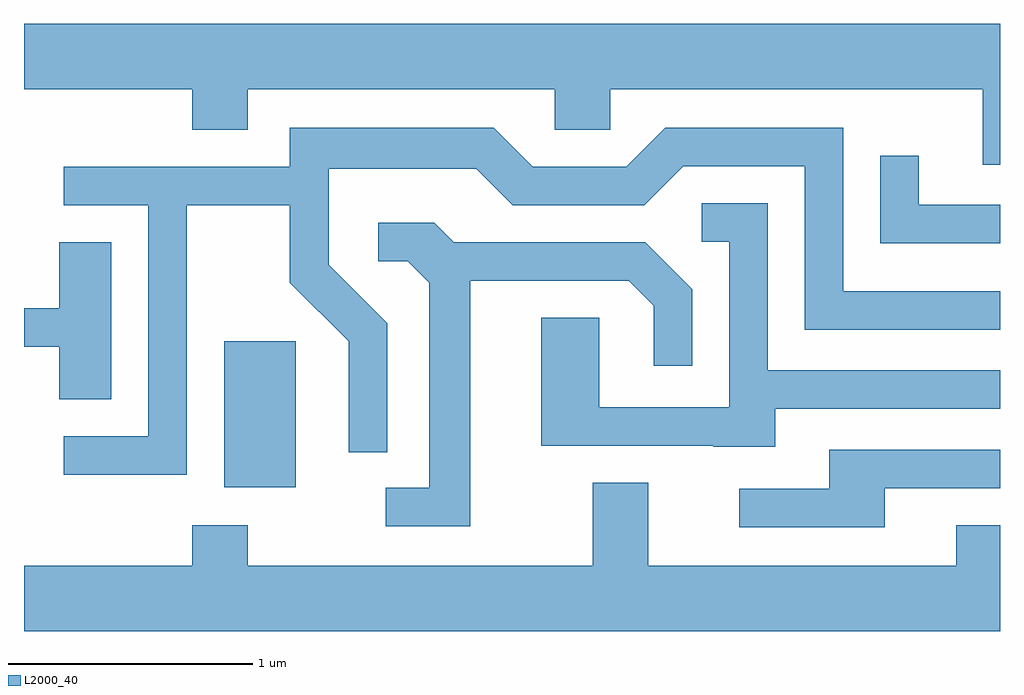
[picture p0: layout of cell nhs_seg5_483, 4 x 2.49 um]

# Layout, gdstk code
import gdstk
lib = gdstk.Library(unit=1e-6, precision=1e-09)
def R(c, l, rs):  # rectangles x0, y0, x1, y1
    for r in rs: c.add(gdstk.rectangle(r[:2], r[2:], *l))
def P(c, l, *ps):  # polygons
    for p in ps: c.add(gdstk.Polygon(p, *l))
L2000_40 = (2000, 40)

nhs_seg5_483 = lib.new_cell('nhs_seg5_483')
R(nhs_seg5_483, L2000_40, [(200.431,1410.766,200.724,1411.364)])
P(nhs_seg5_483, L2000_40, [(203.611,1412.664),(199.611,1412.664),(199.611,1412.396),(200.301,1412.396),(200.301,1412.231),(200.529,1412.231),(200.529,1412.396),(201.786,1412.396),(201.786,1412.231),(202.014,1412.231),(202.014,1412.396),(203.541,1412.396),(203.541,1412.086),(203.611,1412.086)],
  [(200.279,1411.921),(200.701,1411.921),(200.701,1411.604),(200.941,1411.364),(200.941,1410.908),(201.099,1410.908),(201.099,1411.437),(200.859,1411.677),(200.859,1412.071),(201.464,1412.071),(201.614,1411.921),(202.152,1411.921),(202.312,1412.081),(202.811,1412.081),(202.811,1411.411),(203.611,1411.411),(203.611,1411.569),(202.969,1411.569),(202.969,1412.239),(202.239,1412.239),(202.079,1412.079),(201.697,1412.079),(201.537,1412.239),(200.701,1412.239),(200.701,1412.079),(199.773,1412.079),(199.773,1411.921),(200.121,1411.921),(200.121,1410.974),(199.773,1410.974),(199.773,1410.816),(200.279,1410.816)],
  [(203.611,1411.924),(203.279,1411.924),(203.279,1412.123),(203.121,1412.123),(203.121,1411.766),(203.611,1411.766)],
  [(202.689,1411.086),(203.611,1411.086),(203.611,1411.244),(202.659,1411.244),(202.659,1411.929),(202.388,1411.929),(202.388,1411.771),(202.501,1411.771),(202.501,1411.094),(201.969,1411.094),(201.969,1411.459),(201.731,1411.459),(201.731,1410.936),(202.435,1410.936),(202.435,1410.931),(202.689,1410.931)],
  [(201.439,1411.611),(202.089,1411.611),(202.191,1411.509),(202.191,1411.263),(202.349,1411.263),(202.349,1411.577),(202.157,1411.769),(201.372,1411.769),(201.292,1411.849),(201.063,1411.849),(201.063,1411.691),(201.184,1411.691),(201.271,1411.604),(201.271,1410.764),(201.093,1410.764),(201.093,1410.606),(201.439,1410.606)],
  [(199.969,1411.769),(199.756,1411.769),(199.756,1411.499),(199.611,1411.499),(199.611,1411.341),(199.756,1411.341),(199.756,1411.126),(199.969,1411.126)],
  [(203.139,1410.761),(203.611,1410.761),(203.611,1410.919),(202.911,1410.919),(202.911,1410.759),(202.543,1410.759),(202.543,1410.601),(203.139,1410.601)],
  [(203.611,1410.609),(203.431,1410.609),(203.431,1410.444),(202.169,1410.444),(202.169,1410.784),(201.941,1410.784),(201.941,1410.444),(200.529,1410.444),(200.529,1410.609),(200.301,1410.609),(200.301,1410.444),(199.611,1410.444),(199.611,1410.176),(203.611,1410.176)])

lib.write_gds('nhs_seg5_483.gds')
